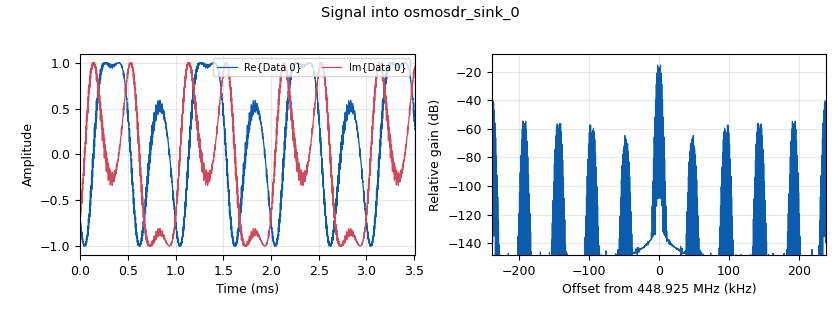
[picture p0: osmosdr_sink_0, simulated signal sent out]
<?xml version='1.0' encoding='utf-8'?>
<?grc format='1' created='3.7.6'?>
<flow_graph>
<block>
<key>options</key>
<param><key>id</key><value>top_block</value></param>
<param><key>generate_options</key><value>wx_gui</value></param>
<param><key>category</key><value>Custom</value></param>
</block>
<block>
<key>variable</key>
<param><key>id</key><value>samp_rate</value></param>
<param><key>value</key><value>480e3</value></param>
</block>
<block>
<key>blocks_multiply_xx</key>
<param><key>id</key><value>blocks_multiply_xx_0</value></param>
<param><key>type</key><value>float</value></param>
</block>
<block>
<key>blocks_add_xx</key>
<param><key>id</key><value>blocks_add_xx_0</value></param>
<param><key>type</key><value>float</value></param>
</block>
<block>
<key>blocks_multiply_xx</key>
<param><key>id</key><value>blocks_multiply_xx_0_0</value></param>
<param><key>type</key><value>float</value></param>
</block>
<block>
<key>blocks_add_const_vxx</key>
<param><key>id</key><value>blocks_add_const_vxx_0</value></param>
<param><key>type</key><value>float</value></param>
<param><key>const</key><value>-1</value></param>
</block>
<block>
<key>blocks_abs_xx</key>
<param><key>id</key><value>blocks_abs_xx_0</value></param>
<param><key>type</key><value>float</value></param>
</block>
<block>
<key>analog_sig_source_x</key>
<param><key>id</key><value>analog_sig_source_x_0_0</value></param>
<param><key>type</key><value>float</value></param>
<param><key>samp_rate</key><value>48000</value></param>
<param><key>waveform</key><value>analog.GR_SIN_WAVE</value></param>
<param><key>freq</key><value>1000</value></param>
<param><key>amp</key><value>1</value></param>
<param><key>offset</key><value>0</value></param>
</block>
<block>
<key>blocks_wavfile_source</key>
<param><key>id</key><value>blocks_wavfile_source_0</value></param>
<param><key>_enabled</key><value>False</value></param>
<param><key>repeat</key><value>True</value></param>
</block>
<block>
<key>osmosdr_sink</key>
<param><key>id</key><value>osmosdr_sink_0</value></param>
<param><key>type</key><value>fc32</value></param>
<param><key>args</key><value></value></param>
<param><key>sync</key><value></value></param>
<param><key>sample_rate</key><value>samp_rate</value></param>
<param><key>freq0</key><value>448.925e6</value></param>
<param><key>gain0</key><value>0</value></param>
<param><key>if_gain0</key><value>0</value></param>
<param><key>bb_gain0</key><value>0</value></param>
</block>
<block>
<key>analog_nbfm_tx</key>
<param><key>id</key><value>analog_nbfm_tx_0</value></param>
<param><key>audio_rate</key><value>48000</value></param>
<param><key>quad_rate</key><value>480000</value></param>
<param><key>tau</key><value>75e-6</value></param>
<param><key>max_dev</key><value>2.5e3</value></param>
</block>
<block>
<key>digital_psk_mod</key>
<param><key>id</key><value>digital_psk_mod_0</value></param>
<param><key>_enabled</key><value>False</value></param>
<param><key>constellation_points</key><value>8</value></param>
<param><key>mod_code</key><value>"gray"</value></param>
<param><key>differential</key><value>True</value></param>
<param><key>samples_per_symbol</key><value>2</value></param>
<param><key>excess_bw</key><value>0.35</value></param>
</block>
<block>
<key>analog_sig_source_x</key>
<param><key>id</key><value>analog_sig_source_x_0</value></param>
<param><key>type</key><value>float</value></param>
<param><key>samp_rate</key><value>48000</value></param>
<param><key>waveform</key><value>analog.GR_SIN_WAVE</value></param>
<param><key>freq</key><value>freq1</value></param>
<param><key>amp</key><value>1</value></param>
<param><key>offset</key><value>0</value></param>
</block>
<block>
<key>analog_sig_source_x</key>
<param><key>id</key><value>analog_sig_source_x_1</value></param>
<param><key>type</key><value>float</value></param>
<param><key>samp_rate</key><value>48000</value></param>
<param><key>waveform</key><value>analog.GR_SQR_WAVE</value></param>
<param><key>freq</key><value>1</value></param>
<param><key>amp</key><value>1</value></param>
<param><key>offset</key><value>0</value></param>
</block>
<block>
<key>variable_slider</key>
<param><key>id</key><value>freq1</value></param>
<param><key>label</key><value></value></param>
<param><key>value</key><value>3000</value></param>
<param><key>min</key><value>100</value></param>
<param><key>max</key><value>15000</value></param>
<param><key>num_steps</key><value>500</value></param>
<param><key>style</key><value>wx.SL_HORIZONTAL</value></param>
<param><key>converver</key><value>float_converter</value></param>
</block>
<connection><source_block_id>analog_nbfm_tx_0</source_block_id><sink_block_id>osmosdr_sink_0</sink_block_id><source_key>0</source_key><sink_key>0</sink_key></connection>
<connection><source_block_id>analog_sig_source_x_0</source_block_id><sink_block_id>blocks_multiply_xx_0</sink_block_id><source_key>0</source_key><sink_key>0</sink_key></connection>
<connection><source_block_id>analog_sig_source_x_1</source_block_id><sink_block_id>blocks_multiply_xx_0</sink_block_id><source_key>0</source_key><sink_key>1</sink_key></connection>
<connection><source_block_id>blocks_add_const_vxx_0</source_block_id><sink_block_id>blocks_abs_xx_0</sink_block_id><source_key>0</source_key><sink_key>0</sink_key></connection>
<connection><source_block_id>analog_sig_source_x_1</source_block_id><sink_block_id>blocks_add_const_vxx_0</sink_block_id><source_key>0</source_key><sink_key>0</sink_key></connection>
<connection><source_block_id>blocks_multiply_xx_0</source_block_id><sink_block_id>blocks_add_xx_0</sink_block_id><source_key>0</source_key><sink_key>0</sink_key></connection>
<connection><source_block_id>blocks_add_xx_0</source_block_id><sink_block_id>analog_nbfm_tx_0</sink_block_id><source_key>0</source_key><sink_key>0</sink_key></connection>
<connection><source_block_id>blocks_multiply_xx_0_0</source_block_id><sink_block_id>blocks_add_xx_0</sink_block_id><source_key>0</source_key><sink_key>1</sink_key></connection>
<connection><source_block_id>blocks_abs_xx_0</source_block_id><sink_block_id>blocks_multiply_xx_0_0</sink_block_id><source_key>0</source_key><sink_key>1</sink_key></connection>
<connection><source_block_id>analog_sig_source_x_0_0</source_block_id><sink_block_id>blocks_multiply_xx_0_0</sink_block_id><source_key>0</source_key><sink_key>0</sink_key></connection>
</flow_graph>
